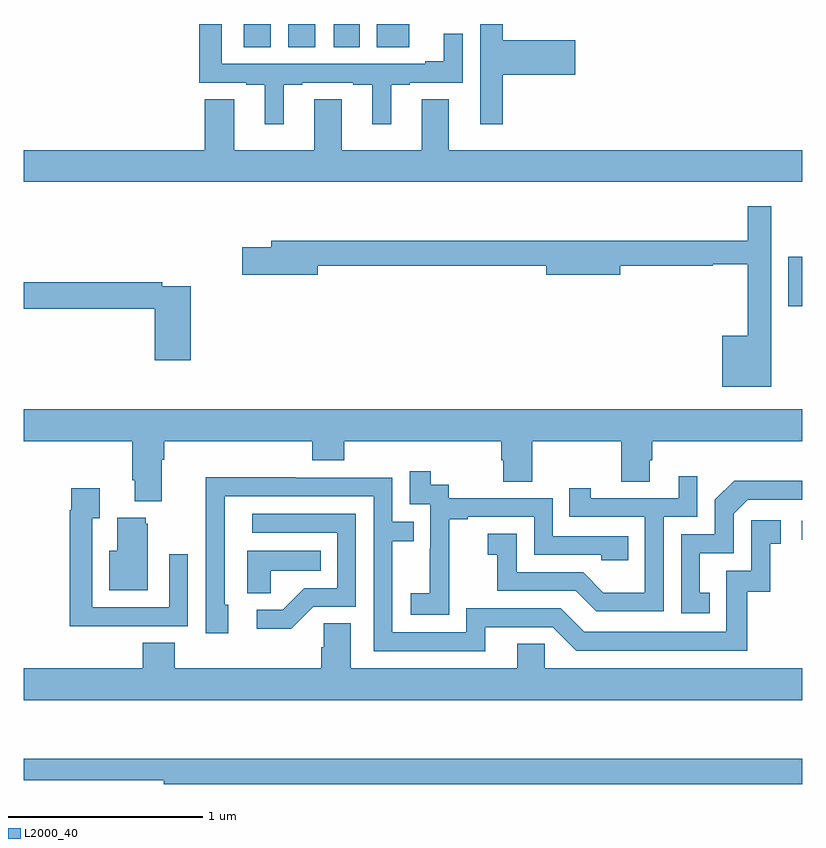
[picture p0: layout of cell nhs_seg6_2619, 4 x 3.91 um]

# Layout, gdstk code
import gdstk
lib = gdstk.Library(unit=1e-6, precision=1e-09)
def R(c, l, rs):  # rectangles x0, y0, x1, y1
    for r in rs: c.add(gdstk.rectangle(r[:2], r[2:], *l))
def P(c, l, *ps):  # polygons
    for p in ps: c.add(gdstk.Polygon(p, *l))
L2000_40 = (2000, 40)

nhs_seg6_2619 = lib.new_cell('nhs_seg6_2619')
R(nhs_seg6_2619, L2000_40, [(270.999,926.85,271,926.946), (270.929,928.049,271,928.303), (268.13,929.38,268.27,929.5), (268.358,929.38,268.498,929.5), (268.592,929.38,268.726,929.5), (268.814,929.38,268.981,929.5)])
P(nhs_seg6_2619, L2000_40, [(268.336,929.187),(268.432,929.187),(268.432,929.199),(268.694,929.199),(268.694,929.187),(268.79,929.187),(268.79,928.986),(268.888,928.986),(268.888,929.187),(268.984,929.187),(268.984,929.199),(269.256,929.199),(269.256,929.449),(269.159,929.449),(269.159,929.308),(269.063,929.308),(269.063,929.295),(268.017,929.295),(268.017,929.5),(267.901,929.5),(267.901,929.199),(268.142,929.199),(268.142,929.187),(268.238,929.187),(268.238,928.986),(268.336,928.986)],
  [(269.462,929.239),(269.833,929.239),(269.833,929.417),(269.462,929.417),(269.462,929.5),(269.346,929.5),(269.346,928.986),(269.462,928.986)],
  [(271,928.852),(269.185,928.852),(269.185,929.114),(269.045,929.114),(269.045,928.852),(268.633,928.852),(268.633,929.114),(268.493,929.114),(268.493,928.852),(268.081,928.852),(268.081,929.114),(267.929,929.114),(267.929,928.852),(267,928.852),(267,928.688),(271,928.688)],
  [(270.841,928.564),(270.72,928.564),(270.72,928.387),(268.271,928.387),(268.271,928.353),(268.122,928.353),(268.122,928.211),(268.51,928.211),(268.51,928.258),(269.684,928.258),(269.684,928.211),(270.064,928.211),(270.064,928.258),(270.541,928.258),(270.541,928.266),(270.72,928.266),(270.72,927.898),(270.59,927.898),(270.59,927.635),(270.841,927.635)],
  [(267.857,928.152),(267.71,928.152),(267.71,928.172),(267,928.172),(267,928.036),(267.674,928.036),(267.674,927.771),(267.857,927.771)],
  [(267.709,927.26),(267.722,927.26),(267.722,927.356),(268.481,927.356),(268.481,927.257),(268.646,927.257),(268.646,927.356),(269.453,927.356),(269.453,927.258),(269.465,927.258),(269.465,927.148),(269.613,927.148),(269.613,927.356),(270.07,927.356),(270.07,927.148),(270.217,927.148),(270.217,927.258),(270.23,927.258),(270.23,927.356),(271,927.356),(271,927.52),(267,927.52),(267,927.356),(267.557,927.356),(267.557,927.154),(267.569,927.154),(267.569,927.047),(267.709,927.047)],
  [(269.187,926.671),(269.186,926.671),(269.186,926.955),(269.281,926.955),(269.281,926.967),(269.622,926.967),(269.622,926.772),(269.967,926.772),(269.967,926.745),(270.107,926.745),(270.107,926.868),(269.718,926.868),(269.718,927.063),(269.184,927.063),(269.184,927.132),(269.092,927.132),(269.092,927.202),(268.983,927.202),(268.983,927.033),(269.088,927.033),(269.088,926.804),(269.087,926.804),(269.087,926.575),(268.989,926.575),(268.989,926.465),(269.187,926.465)],
  [(270.288,926.967),(270.462,926.967),(270.462,927.175),(270.365,927.175),(270.365,927.063),(269.914,927.063),(269.914,927.115),(269.803,927.115),(269.803,926.967),(270.192,926.967),(270.192,926.578),(269.978,926.578),(269.874,926.682),(269.532,926.682),(269.532,926.881),(269.385,926.881),(269.385,926.771),(269.434,926.771),(269.434,926.586),(269.837,926.586),(269.942,926.481),(270.288,926.481)],
  [(269.371,926.4),(269.718,926.4),(269.838,926.28),(270.718,926.28),(270.718,926.583),(270.836,926.583),(270.836,926.829),(270.889,926.829),(270.889,926.95),(270.738,926.95),(270.738,926.691),(270.609,926.691),(270.609,926.376),(269.88,926.376),(269.76,926.496),(269.274,926.496),(269.274,926.373),(268.893,926.373),(268.893,926.842),(269.003,926.842),(269.003,926.943),(268.893,926.943),(268.893,927.168),(268.397,927.168),(268.397,927.17),(267.934,927.17),(267.934,926.863),(267.936,926.863),(267.936,926.37),(268.051,926.37),(268.051,926.514),(268.032,926.514),(268.032,927.072),(268.797,927.072),(268.797,926.277),(269.371,926.277)],
  [(270.524,926.577),(270.475,926.577),(270.475,926.781),(270.648,926.781),(270.648,926.982),(270.72,927.054),(271,927.054),(271,927.152),(270.65,927.152),(270.552,927.054),(270.552,926.877),(270.378,926.877),(270.378,926.472),(270.524,926.472)],
  [(267.527,926.406),(267.843,926.406),(267.843,926.776),(267.747,926.776),(267.747,926.502),(267.351,926.502),(267.351,926.959),(267.391,926.959),(267.391,927.115),(267.243,927.115),(267.243,927.002),(267.235,927.002),(267.235,926.405),(267.527,926.405)],
  [(268.488,926.505),(268.707,926.505),(268.707,926.982),(268.173,926.982),(268.173,926.886),(268.611,926.886),(268.611,926.601),(268.442,926.601),(268.331,926.49),(268.197,926.49),(268.197,926.393),(268.375,926.393)],
  [(267.637,926.931),(267.626,926.931),(267.626,926.962),(267.479,926.962),(267.479,926.794),(267.44,926.794),(267.44,926.591),(267.637,926.591)],
  [(268.269,926.69),(268.526,926.69),(268.526,926.794),(268.148,926.794),(268.148,926.575),(268.269,926.575)],
  [(271,926.188),(269.676,926.188),(269.676,926.315),(269.537,926.315),(269.537,926.188),(268.681,926.188),(268.681,926.42),(268.542,926.42),(268.542,926.297),(268.529,926.297),(268.529,926.188),(267.776,926.188),(267.776,926.321),(267.611,926.321),(267.611,926.188),(267,926.188),(267,926.024),(271,926.024)],
  [(271,925.723),(267,925.723),(267,925.614),(267.466,925.614),(267.466,925.613),(267.718,925.613),(267.718,925.594),(271,925.594)])

lib.write_gds('nhs_seg6_2619.gds')
